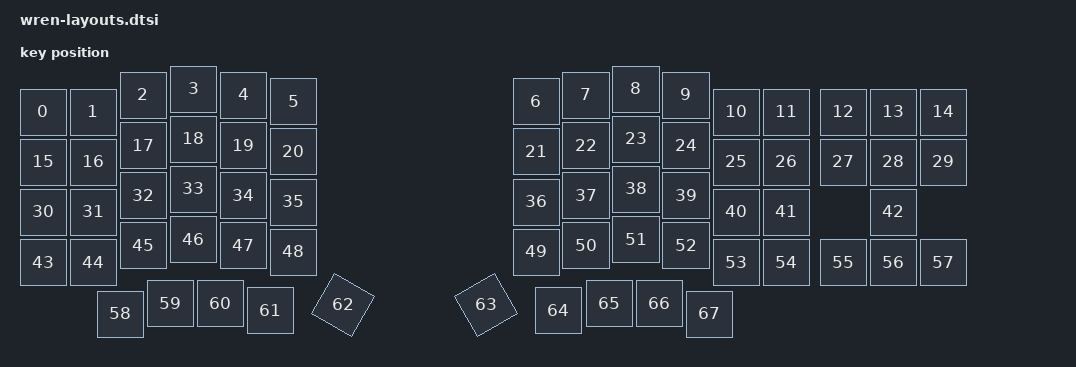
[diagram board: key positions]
#include <physical_layouts.dtsi>

/ {
    physical_layout0: physical_layout_0 {
        compatible = "zmk,physical-layout";
        display-name = "LAYOUT";

        kscan = <&kscan0>;
        transform = <&matrix_transform0>;

        keys  //                     w   h    x    y     rot    rx    ry
            = <&key_physical_attrs 100 100    0   46       0     0     0>
            , <&key_physical_attrs 100 100  100   46       0     0     0>
            , <&key_physical_attrs 100 100  200   12       0     0     0>
            , <&key_physical_attrs 100 100  301    0       0     0     0>
            , <&key_physical_attrs 100 100  401   12       0     0     0>
            , <&key_physical_attrs 100 100  501   25       0     0     0>
            , <&key_physical_attrs 100 100  986   25       0     0     0>
            , <&key_physical_attrs 100 100 1086   12       0     0     0>
            , <&key_physical_attrs 100 100 1186    0       0     0     0>
            , <&key_physical_attrs 100 100 1286   12       0     0     0>
            , <&key_physical_attrs 100 100 1387   46       0     0     0>
            , <&key_physical_attrs 100 100 1487   46       0     0     0>
            , <&key_physical_attrs 100 100 1600   46       0     0     0>
            , <&key_physical_attrs 100 100 1700   46       0     0     0>
            , <&key_physical_attrs 100 100 1800   46       0     0     0>
            , <&key_physical_attrs 100 100    0  146       0     0     0>
            , <&key_physical_attrs 100 100  100  146       0     0     0>
            , <&key_physical_attrs 100 100  200  113       0     0     0>
            , <&key_physical_attrs 100 100  301  100       0     0     0>
            , <&key_physical_attrs 100 100  401  113       0     0     0>
            , <&key_physical_attrs 100 100  501  125       0     0     0>
            , <&key_physical_attrs 100 100  986  125       0     0     0>
            , <&key_physical_attrs 100 100 1086  113       0     0     0>
            , <&key_physical_attrs 100 100 1186  100       0     0     0>
            , <&key_physical_attrs 100 100 1286  113       0     0     0>
            , <&key_physical_attrs 100 100 1387  146       0     0     0>
            , <&key_physical_attrs 100 100 1487  146       0     0     0>
            , <&key_physical_attrs 100 100 1600  146       0     0     0>
            , <&key_physical_attrs 100 100 1700  146       0     0     0>
            , <&key_physical_attrs 100 100 1800  146       0     0     0>
            , <&key_physical_attrs 100 100    0  246       0     0     0>
            , <&key_physical_attrs 100 100  100  246       0     0     0>
            , <&key_physical_attrs 100 100  200  213       0     0     0>
            , <&key_physical_attrs 100 100  301  200       0     0     0>
            , <&key_physical_attrs 100 100  401  213       0     0     0>
            , <&key_physical_attrs 100 100  501  226       0     0     0>
            , <&key_physical_attrs 100 100  986  226       0     0     0>
            , <&key_physical_attrs 100 100 1086  213       0     0     0>
            , <&key_physical_attrs 100 100 1186  200       0     0     0>
            , <&key_physical_attrs 100 100 1286  213       0     0     0>
            , <&key_physical_attrs 100 100 1387  246       0     0     0>
            , <&key_physical_attrs 100 100 1487  246       0     0     0>
            , <&key_physical_attrs 100 100 1700  246       0     0     0>
            , <&key_physical_attrs 100 100    0  347       0     0     0>
            , <&key_physical_attrs 100 100  100  347       0     0     0>
            , <&key_physical_attrs 100 100  200  313       0     0     0>
            , <&key_physical_attrs 100 100  301  301       0     0     0>
            , <&key_physical_attrs 100 100  401  313       0     0     0>
            , <&key_physical_attrs 100 100  501  326       0     0     0>
            , <&key_physical_attrs 100 100  986  326       0     0     0>
            , <&key_physical_attrs 100 100 1086  313       0     0     0>
            , <&key_physical_attrs 100 100 1186  301       0     0     0>
            , <&key_physical_attrs 100 100 1286  313       0     0     0>
            , <&key_physical_attrs 100 100 1387  347       0     0     0>
            , <&key_physical_attrs 100 100 1487  347       0     0     0>
            , <&key_physical_attrs 100 100 1600  347       0     0     0>
            , <&key_physical_attrs 100 100 1700  347       0     0     0>
            , <&key_physical_attrs 100 100 1800  347       0     0     0>
            , <&key_physical_attrs 100 100  155  450       0     0     0>
            , <&key_physical_attrs 100 100  255  429       0     0     0>
            , <&key_physical_attrs 100 100  355  429       0     0     0>
            , <&key_physical_attrs 100 100  455  443       0     0     0>
            , <&key_physical_attrs 100 100  600  432    3000   650   482>
            , <&key_physical_attrs 100 100  886  432 (-3000)   936   482>
            , <&key_physical_attrs 100 100 1031  443       0     0     0>
            , <&key_physical_attrs 100 100 1132  429       0     0     0>
            , <&key_physical_attrs 100 100 1232  429       0     0     0>
            , <&key_physical_attrs 100 100 1332  450       0     0     0>
            ;
    };
};
